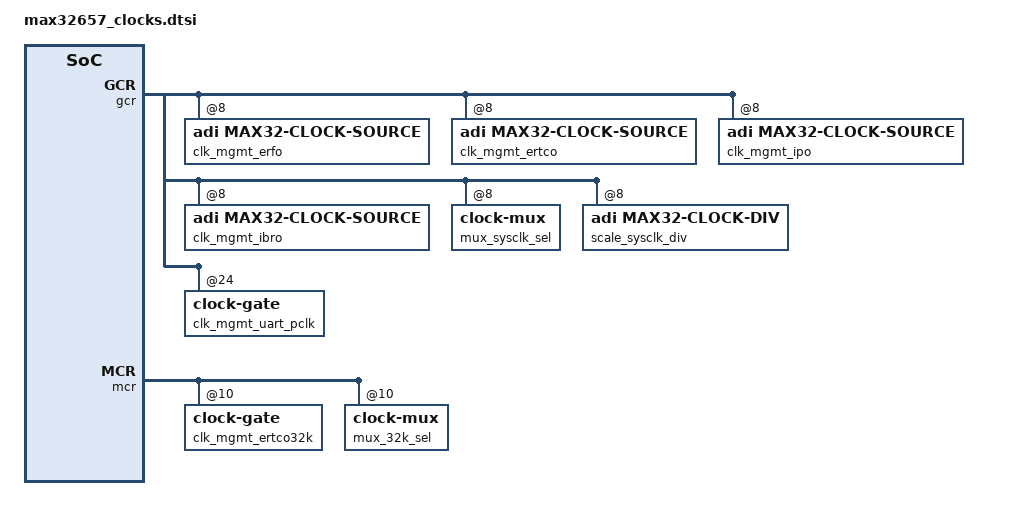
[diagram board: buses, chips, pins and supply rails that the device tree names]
/*
 * Copyright (c) 2026 Analog Devices, Inc.
 *
 * SPDX-License-Identifier: Apache-2.0
 */

/ {
	no_clock: no-clock {
		/* Dummy clock for invalid or reserved mux inputs. */
		#clock-cells = <0>;
		compatible = "fixed-clock";
		clock-frequency = <0>;
	};

	clk_mgmt_ext: ext {
		#clock-cells = <0>;
		compatible = "fixed-clock";
		clock-frequency = <0>;
	};

	clk_mgmt_inro: inro {
		#clock-cells = <0>;
		compatible = "fixed-clock";
		clock-frequency = <131072>;
	};

	clk_mgmt_inro_div4: inro_div4 {
		#clock-cells = <0>;
		compatible = "fixed-factor-clock";
		clock-div = <4>;
		clocks = <&clk_mgmt_inro>;
	};

	clk_mgmt_rtc: rtc {
		#clock-cells = <0>;
		compatible = "fixed-clock";
		clock-frequency = <0>;
	};

	clk_mgmt_pclk: pclk {
		#clock-cells = <0>;
		compatible = "fixed-factor-clock";
		clock-div = <2>;
		clocks = <&scale_sysclk_div 0>;
	};

	/* The UART mux cannot exist in the UART node otherwise it leads to a circular dependency */
	bclk_src: mux@50042000 {
		#clock-cells = <1>;
		compatible = "clock-mux";
		reg = <0x50042000 0x3>;
		offset = <0x10>;
		input-sources = <&clk_mgmt_uart_pclk &clk_mgmt_ibro>;

		bclk_uart0: bclk_uart0 {
			#clock-cells = <0>;
			compatible = "clock-output";

			/*
			 * Since the sys_clk is what feeds the pclk, the following states
			 * must only be enabled when the corresponding sys_clk state is
			 * active. If there's a mismatch, the actual frequency will be
			 * different than what the state specifies.
			 */

			/* Depends on sys_clk_erfo_32 */
			bclk_uart0_16: bclk_uart0_16 {
				compatible = "clock-state";
				clocks = <&clk_mgmt_uart_pclk 1 &bclk_src 0>;
				clock-frequency = <DT_FREQ_M(16)>;
			};

			/* Depends on sys_clk_erfo_16 */
			bclk_uart0_8: bclk_uart0_8 {
				compatible = "clock-state";
				clocks = <&clk_mgmt_uart_pclk 1 &bclk_src 0>;
				clock-frequency = <DT_FREQ_M(8)>;
			};

			/* Depends on sys_clk_erfo_8 */
			bclk_uart0_4: bclk_uart0_4 {
				compatible = "clock-state";
				clocks = <&clk_mgmt_uart_pclk 1 &bclk_src 0>;
				clock-frequency = <DT_FREQ_M(4)>;
			};

			/* Depends on sys_clk_ipo */
			bclk_uart0_ipo: bclk_uart0_ipo {
				compatible = "clock-state";
				clocks = <&clk_mgmt_uart_pclk 1 &bclk_src 0>;
				clock-frequency = <DT_FREQ_M(25)>;
			};

			/* Depends on sys_clk_32k */
			bclk_uart0_16k: bclk_uart0_16k {
				compatible = "clock-state";
				clocks = <&clk_mgmt_uart_pclk 1 &bclk_src 0>;
				clock-frequency = <16384>;
			};

			/* When using ibro, sys_clk is not a parent clock, so only the ibro source is used to determine the frequency. */
			bclk_uart0_ibro: bclk_uart0_ibro {
				compatible = "clock-state";
				clocks = <&clk_mgmt_ibro 1 &clk_mgmt_uart_pclk 1 &bclk_src 1>;
				clock-frequency = <7372800>;
			};

			bclk_uart0_off: bclk_uart0_off {
				compatible = "clock-state";
				clocks = <&clk_mgmt_uart_pclk 0>;
				clock-frequency = <0>;
			};
		};
	};
};

&cpu0 {
	clock-outputs = <&sys_clk>;
	clock-output-names = "default";
	clock-state-0 = <&sys_clk_erfo_32>;
	clock-state-1 = <&sys_clk_erfo_16>;
	clock-state-2 = <&sys_clk_erfo_8>;
	clock-state-3 = <&sys_clk_ipo>;
	clock-state-4 = <&sys_clk_32k>;
	clock-state-names = "default", "medium", "low", "turbo", "32k";
};

&gcr {
	#address-cells = <1>;
	#size-cells = <1>;
	ranges = <0x0 0x0 0x400>;

	clk_mgmt_erfo: erfo@8 {
		#clock-cells = <1>;
		compatible = "adi,max32-clock-source";
		reg = <0x8 0x1>;
		offset = <0x10>;
		frequency = <DT_FREQ_M(32)>;
		enum = <0x2>;
	};

	clk_mgmt_ertco: ertco@8 {
		#clock-cells = <1>;
		compatible = "adi,max32-clock-source";
		reg = <0x8 0x1>;
		offset = <0x11>;
		frequency = <32768>;
		enum = <0x6>;
	};

	clk_mgmt_ipo: ipo@8 {
		#clock-cells = <1>;
		compatible = "adi,max32-clock-source";
		reg = <0x8 0x1>;
		offset = <0x12>;
		frequency = <DT_FREQ_M(50)>;
		enum = <0x0>;
	};

	clk_mgmt_ibro: ibro@8 {
		#clock-cells = <1>;
		compatible = "adi,max32-clock-source";
		reg = <0x8 0x1>;
		offset = <0x14>;
		frequency = <7372800>;
		enum = <0x5>;
	};

	mux_sysclk_sel: mux@8 {
		#clock-cells = <1>;
		compatible = "clock-mux";
		reg = <0x8 0x3>;
		offset = <0x9>;
		input-sources = <&clk_mgmt_ipo &no_clock &clk_mgmt_erfo &clk_mgmt_inro &no_clock
				 &clk_mgmt_ibro &mux_32k_sel &clk_mgmt_ext>;
	};

	scale_sysclk_div: prescaler@8 {
		#clock-cells = <1>;
		compatible = "adi,max32-clock-div";
		reg = <0x8 0x3>;
		offset = <0x6>;
		input-source = <&mux_sysclk_sel>;

		sys_clk: sys_clk {
			#clock-cells = <0>;
			compatible = "clock-output";

			sys_clk_erfo_32: sys_clk_erfo_32 {
				compatible = "clock-state";
				clocks = <&clk_mgmt_erfo 1 &mux_sysclk_sel 2 &scale_sysclk_div 0>;
				clock-frequency = <DT_FREQ_M(32)>;
			};

			sys_clk_erfo_16: sys_clk_erfo_16 {
				compatible = "clock-state";
				clocks = <&clk_mgmt_erfo 1 &mux_sysclk_sel 2 &scale_sysclk_div 1>;
				clock-frequency = <DT_FREQ_M(16)>;
			};

			sys_clk_erfo_8: sys_clk_erfo_8 {
				compatible = "clock-state";
				clocks = <&clk_mgmt_erfo 1 &mux_sysclk_sel 2 &scale_sysclk_div 2>;
				clock-frequency = <DT_FREQ_M(8)>;
			};

			sys_clk_ipo: sys_clk_ipo {
				compatible = "clock-state";
				clocks = <&clk_mgmt_ipo 1 &mux_sysclk_sel 0 &scale_sysclk_div 0>;
				clock-frequency = <DT_FREQ_M(50)>;
			};

			sys_clk_32k: sys_clk_32k {
				compatible = "clock-state";
				clocks = <&clk_mgmt_ertco 1 &clk_mgmt_ertco32k 1 &mux_32k_sel 0
					  &mux_sysclk_sel 6 &scale_sysclk_div 0>;
				clock-frequency = <32768>;
			};
		};
	};

	clk_mgmt_uart_pclk: clk_mgmt_uart_pclk@24 {
		#clock-cells = <1>;
		compatible = "clock-gate";
		input = <&clk_mgmt_pclk>;
		reg = <0x24 0x1>;
		offset = <0x9>;
		invert;
	};
};

&mcr {
	ranges = <0x0 0x0 0x400>;

	clk_mgmt_ertco32k: ertco32k@8 {
		#clock-cells = <1>;
		compatible = "clock-gate";
		input = <&clk_mgmt_ertco>;
		reg = <0x10 0x1>;
		offset = <0x3>;
	};

	mux_32k_sel: mux@10 {
		#clock-cells = <1>;
		compatible = "clock-mux";
		reg = <0x10 0x2>;
		offset = <0x0>;
		input-sources = <&clk_mgmt_ertco32k &clk_mgmt_inro_div4 &clk_mgmt_rtc>;
	};
};

&gpio0 {
	/delete-property/ clocks;
};

&uart0 {
	clock-outputs = <&bclk_uart0>;
	clock-output-names = "default";
	/* Can only have a max of 5 clock states right now. Skip some that we won't use */
	clock-state-0 = <&bclk_uart0_16>;
	clock-state-1 = <&bclk_uart0_8>;
	clock-state-2 = <&bclk_uart0_4>;
	clock-state-3 = <&bclk_uart0_ipo>;
	clock-state-4 = <&bclk_uart0_ibro>;
	clock-state-names = "default", "medium", "low", "turbo", "ibro";
};
